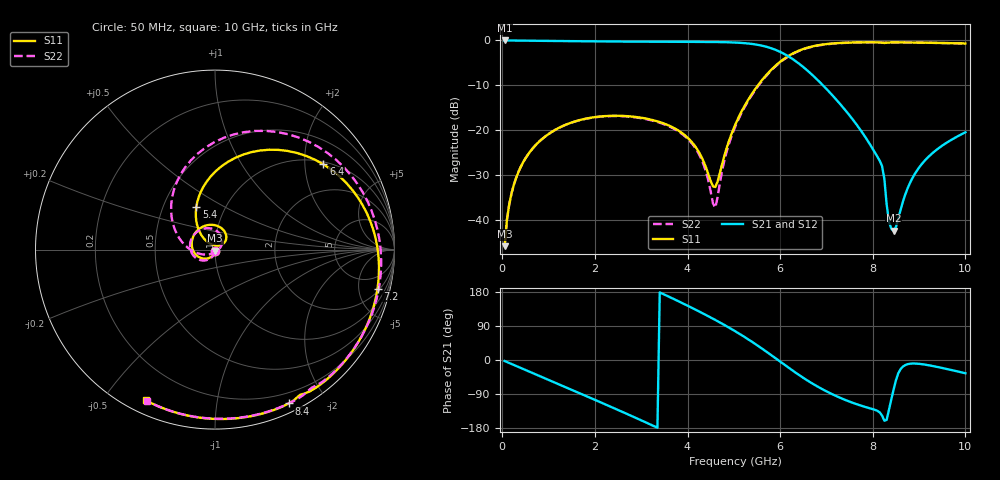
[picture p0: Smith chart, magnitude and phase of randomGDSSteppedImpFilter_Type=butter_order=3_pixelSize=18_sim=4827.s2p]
! freq	dB(S11)	phase(S11)	dB(S12)	phase(S12)
!  dB(S21)	phase(S21)	dB(S22)	phase(S22)
!S-par simulation data
#  GHz  S  DB  R 50
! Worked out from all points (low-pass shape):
!   200 points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, 50 MHz to 10 GHz, reference 50 ohm
!   highest |S21| = 0.00 dB at 50 MHz (marker M1); lowest = -42.3 dB at 8.45 GHz (marker M2)
!   |S21| within 3 dB of the highest: start of sweep to 6.088 GHz
!   lowest |S11| = -45.8 dB at 50 MHz (marker M3), VSWR 1.01, Z = 50 - j0.514 ohm
!   |S11| at or under -10 dB: start of sweep to 5.52 GHz
!   |S22| runs from -45.8 to -0.4 dB; largest |S21 - S12| = 0
!   S11 on the Smith chart (normalised r, x): 50 MHz: 1.00, -0.01; 5.4 GHz: 0.73, +0.37; 6.4 GHz: 1.07, +2.48; 7.2 GHz: 2.36, -7.74; 8.4 GHz: 0.09, -1.58; 10 GHz: 0.06, -0.64
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0.05  -45.78 -89.6  -0.00 -2.7  -0.00 -2.7  -45.77 -89.1
0.2  -34.01 -101.0  -0.02 -10.6  -0.02 -10.6  -34.00 -98.8
0.5  -26.25 -119.4  -0.05 -26.3  -0.05 -26.3  -26.24 -114.0
1.15  -19.85 -157.6  -0.12 -60.4  -0.12 -60.4  -19.86 -145.1
1.75  -17.52 167.3  -0.18 -91.9  -0.18 -91.9  -17.56 -173.5
2.5  -16.76 123.3  -0.25 -131.9  -0.25 -131.9  -16.84 150.4
3.4  -18.17 71.9  -0.30 178.4  -0.30 178.4  -18.31 102.7
4.2  -24.09 36.3  -0.32 131.2  -0.32 131.2  -24.46 47.9
4.6  -32.61 90.6  -0.35 105.7  -0.35 105.7  -37.21 -65.6
4.8  -25.50 133.1  -0.39 92.2  -0.39 92.2  -26.52 -144.3
5.05  -18.30 132.1  -0.48 74.4  -0.48 74.4  -18.70 -173.8
5.4  -11.75 113.8  -0.79 47.4  -0.79 47.4  -11.97 153.1
5.85  -6.10 81.4  -1.89 9.0  -1.89 9.0  -6.24 110.0
6.4  -2.29 38.2  -5.11 -39.0  -5.11 -39.0  -2.38 57.7
6.7  -1.32 16.7  -7.73 -62.4  -7.73 -62.4  -1.39 32.5
7.2  -0.62 -13.5  -13.03 -94.5  -13.03 -94.5  -0.67 -2.6
8.2  -0.50 -58.1  -27.94 -146.5  -27.94 -146.5  -0.50 -53.3
8.35  -0.47 -62.5  -40.36 -130.9  -40.36 -130.9  -0.47 -58.6
8.4  -0.44 -64.4  -41.88 -104.1  -41.88 -104.1  -0.45 -60.6
8.45  -0.43 -66.2  -42.34 -78.1  -42.34 -78.1  -0.44 -62.7
9  -0.48 -84.6  -28.29 -10.1  -28.29 -10.1  -0.49 -82.7
10  -0.69 -114.6  -20.44 -34.9  -20.44 -34.9  -0.68 -114.1
